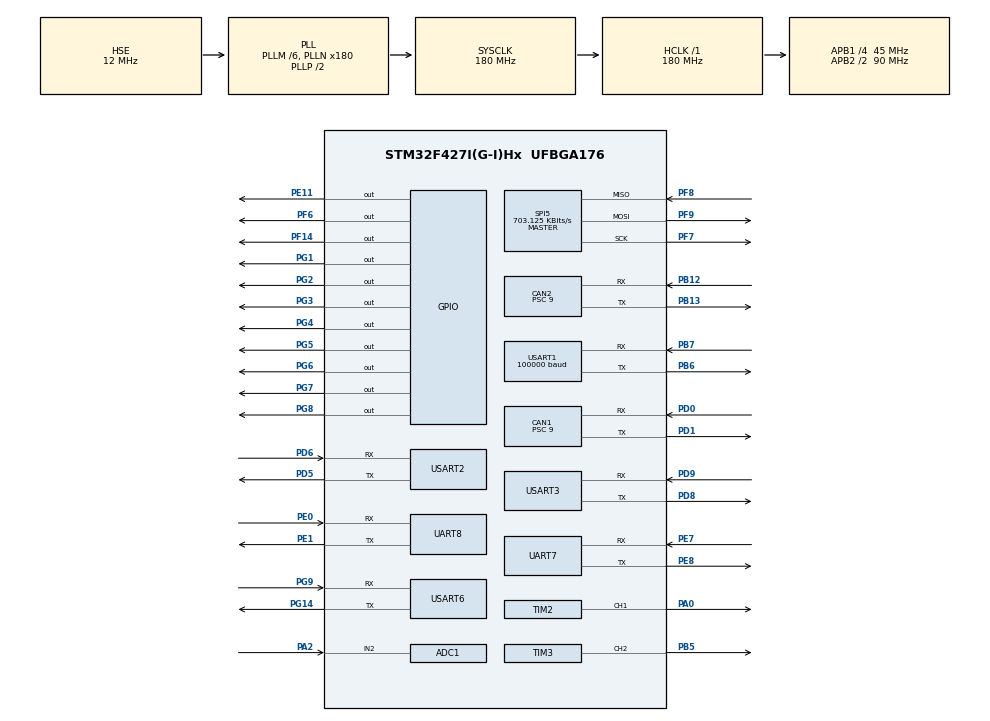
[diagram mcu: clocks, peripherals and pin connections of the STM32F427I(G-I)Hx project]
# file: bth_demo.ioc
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ADC1.Channel-1\#ChannelRegularConversion=ADC_CHANNEL_2
ADC1.ClockPrescaler=ADC_CLOCK_SYNC_PCLK_DIV8
ADC1.ContinuousConvMode=ENABLE
ADC1.DMAContinuousRequests=ENABLE
ADC1.NbrOfConversionFlag=1
ADC1.Rank-1\#ChannelRegularConversion=1
ADC1.SamplingTime-1\#ChannelRegularConversion=ADC_SAMPLETIME_480CYCLES
ADC1.ScanConvMode=ENABLE
ADC1.master=1
CAN1.ABOM=ENABLE
CAN1.BS1=CAN_BS1_2TQ
CAN1.BS2=CAN_BS2_2TQ
CAN1.CalculateBaudRate=1000000
CAN1.CalculateTimeBit=1000
CAN1.CalculateTimeQuantum=200.0
CAN1.Prescaler=9
CAN2.ABOM=ENABLE
CAN2.BS1=CAN_BS1_2TQ
CAN2.BS2=CAN_BS2_2TQ
CAN2.CalculateBaudRate=1000000
CAN2.CalculateTimeBit=1000
CAN2.CalculateTimeQuantum=200.0
CAN2.Prescaler=9
Dma.ADC1.11.Direction=DMA_PERIPH_TO_MEMORY
Dma.ADC1.11.FIFOMode=DMA_FIFOMODE_DISABLE
Dma.ADC1.11.Instance=DMA2_Stream0
Dma.ADC1.11.MemDataAlignment=DMA_MDATAALIGN_HALFWORD
Dma.ADC1.11.MemInc=DMA_MINC_ENABLE
Dma.ADC1.11.Mode=DMA_CIRCULAR
Dma.ADC1.11.PeriphDataAlignment=DMA_PDATAALIGN_HALFWORD
Dma.ADC1.11.PeriphInc=DMA_PINC_DISABLE
Dma.ADC1.11.Priority=DMA_PRIORITY_LOW
Dma.Request0=USART2_RX
Dma.Request1=USART2_TX
Dma.Request10=USART3_TX
Dma.Request11=ADC1
Dma.Request2=USART1_RX
Dma.Request3=USART1_TX
Dma.Request4=SPI5_RX
Dma.Request5=SPI5_TX
Dma.Request6=USART6_RX
Dma.Request7=USART6_TX
Dma.Request8=UART7_RX
Dma.Request9=UART7_TX
Dma.SPI5_RX.4.Direction=DMA_PERIPH_TO_MEMORY
Dma.SPI5_RX.4.FIFOMode=DMA_FIFOMODE_DISABLE
Dma.SPI5_RX.4.Instance=DMA2_Stream3
Dma.SPI5_RX.4.MemDataAlignment=DMA_MDATAALIGN_BYTE
Dma.SPI5_RX.4.MemInc=DMA_MINC_ENABLE
Dma.SPI5_RX.4.Mode=DMA_NORMAL
Dma.SPI5_RX.4.PeriphDataAlignment=DMA_PDATAALIGN_BYTE
Dma.SPI5_RX.4.PeriphInc=DMA_PINC_DISABLE
Dma.SPI5_RX.4.Priority=DMA_PRIORITY_LOW
Dma.SPI5_TX.5.Direction=DMA_MEMORY_TO_PERIPH
Dma.SPI5_TX.5.FIFOMode=DMA_FIFOMODE_DISABLE
Dma.SPI5_TX.5.Instance=DMA2_Stream4
Dma.SPI5_TX.5.MemDataAlignment=DMA_MDATAALIGN_BYTE
Dma.SPI5_TX.5.MemInc=DMA_MINC_ENABLE
Dma.SPI5_TX.5.Mode=DMA_NORMAL
Dma.SPI5_TX.5.PeriphDataAlignment=DMA_PDATAALIGN_BYTE
Dma.SPI5_TX.5.PeriphInc=DMA_PINC_DISABLE
Dma.SPI5_TX.5.Priority=DMA_PRIORITY_LOW
Dma.UART7_RX.8.Direction=DMA_PERIPH_TO_MEMORY
Dma.UART7_RX.8.FIFOMode=DMA_FIFOMODE_DISABLE
Dma.UART7_RX.8.Instance=DMA1_Stream3
Dma.UART7_RX.8.MemDataAlignment=DMA_MDATAALIGN_BYTE
Dma.UART7_RX.8.MemInc=DMA_MINC_ENABLE
Dma.UART7_RX.8.Mode=DMA_NORMAL
Dma.UART7_RX.8.PeriphDataAlignment=DMA_PDATAALIGN_BYTE
Dma.UART7_RX.8.PeriphInc=DMA_PINC_DISABLE
Dma.UART7_RX.8.Priority=DMA_PRIORITY_LOW
Dma.UART7_TX.9.Direction=DMA_MEMORY_TO_PERIPH
Dma.UART7_TX.9.FIFOMode=DMA_FIFOMODE_DISABLE
Dma.UART7_TX.9.Instance=DMA1_Stream1
Dma.UART7_TX.9.MemDataAlignment=DMA_MDATAALIGN_BYTE
Dma.UART7_TX.9.MemInc=DMA_MINC_ENABLE
Dma.UART7_TX.9.Mode=DMA_NORMAL
Dma.UART7_TX.9.PeriphDataAlignment=DMA_PDATAALIGN_BYTE
Dma.UART7_TX.9.PeriphInc=DMA_PINC_DISABLE
Dma.UART7_TX.9.Priority=DMA_PRIORITY_LOW
Dma.USART1_RX.2.Direction=DMA_PERIPH_TO_MEMORY
Dma.USART1_RX.2.FIFOMode=DMA_FIFOMODE_DISABLE
Dma.USART1_RX.2.Instance=DMA2_Stream2
Dma.USART1_RX.2.MemDataAlignment=DMA_MDATAALIGN_BYTE
Dma.USART1_RX.2.MemInc=DMA_MINC_ENABLE
Dma.USART1_RX.2.Mode=DMA_NORMAL
Dma.USART1_RX.2.PeriphDataAlignment=DMA_PDATAALIGN_BYTE
Dma.USART1_RX.2.PeriphInc=DMA_PINC_DISABLE
Dma.USART1_RX.2.Priority=DMA_PRIORITY_LOW
Dma.USART1_TX.3.Direction=DMA_MEMORY_TO_PERIPH
Dma.USART1_TX.3.FIFOMode=DMA_FIFOMODE_DISABLE
Dma.USART1_TX.3.Instance=DMA2_Stream7
Dma.USART1_TX.3.MemDataAlignment=DMA_MDATAALIGN_BYTE
Dma.USART1_TX.3.MemInc=DMA_MINC_ENABLE
Dma.USART1_TX.3.Mode=DMA_NORMAL
Dma.USART1_TX.3.PeriphDataAlignment=DMA_PDATAALIGN_BYTE
Dma.USART1_TX.3.PeriphInc=DMA_PINC_DISABLE
Dma.USART1_TX.3.Priority=DMA_PRIORITY_LOW
Dma.USART2_RX.0.Direction=DMA_PERIPH_TO_MEMORY
Dma.USART2_RX.0.FIFOMode=DMA_FIFOMODE_DISABLE
Dma.USART2_RX.0.Instance=DMA1_Stream5
Dma.USART2_RX.0.MemDataAlignment=DMA_MDATAALIGN_BYTE
Dma.USART2_RX.0.MemInc=DMA_MINC_ENABLE
Dma.USART2_RX.0.Mode=DMA_NORMAL
Dma.USART2_RX.0.PeriphDataAlignment=DMA_PDATAALIGN_BYTE
Dma.USART2_RX.0.PeriphInc=DMA_PINC_DISABLE
Dma.USART2_RX.0.Priority=DMA_PRIORITY_LOW
Dma.USART2_TX.1.Direction=DMA_MEMORY_TO_PERIPH
Dma.USART2_TX.1.FIFOMode=DMA_FIFOMODE_DISABLE
Dma.USART2_TX.1.Instance=DMA1_Stream6
Dma.USART2_TX.1.MemDataAlignment=DMA_MDATAALIGN_BYTE
Dma.USART2_TX.1.MemInc=DMA_MINC_ENABLE
Dma.USART2_TX.1.Mode=DMA_NORMAL
Dma.USART2_TX.1.PeriphDataAlignment=DMA_PDATAALIGN_BYTE
Dma.USART2_TX.1.PeriphInc=DMA_PINC_DISABLE
Dma.USART2_TX.1.Priority=DMA_PRIORITY_LOW
Dma.USART3_TX.10.Direction=DMA_MEMORY_TO_PERIPH
Dma.USART3_TX.10.FIFOMode=DMA_FIFOMODE_DISABLE
Dma.USART3_TX.10.Instance=DMA1_Stream4
Dma.USART3_TX.10.MemDataAlignment=DMA_MDATAALIGN_BYTE
Dma.USART3_TX.10.MemInc=DMA_MINC_ENABLE
Dma.USART3_TX.10.Mode=DMA_NORMAL
Dma.USART3_TX.10.PeriphDataAlignment=DMA_PDATAALIGN_BYTE
Dma.USART3_TX.10.PeriphInc=DMA_PINC_DISABLE
Dma.USART3_TX.10.Priority=DMA_PRIORITY_LOW
Dma.USART6_RX.6.Direction=DMA_PERIPH_TO_MEMORY
Dma.USART6_RX.6.FIFOMode=DMA_FIFOMODE_DISABLE
Dma.USART6_RX.6.Instance=DMA2_Stream1
Dma.USART6_RX.6.MemDataAlignment=DMA_MDATAALIGN_BYTE
Dma.USART6_RX.6.MemInc=DMA_MINC_ENABLE
Dma.USART6_RX.6.Mode=DMA_NORMAL
Dma.USART6_RX.6.PeriphDataAlignment=DMA_PDATAALIGN_BYTE
Dma.USART6_RX.6.PeriphInc=DMA_PINC_DISABLE
Dma.USART6_RX.6.Priority=DMA_PRIORITY_LOW
Dma.USART6_TX.7.Direction=DMA_MEMORY_TO_PERIPH
Dma.USART6_TX.7.FIFOMode=DMA_FIFOMODE_DISABLE
Dma.USART6_TX.7.Instance=DMA2_Stream6
Dma.USART6_TX.7.MemDataAlignment=DMA_MDATAALIGN_BYTE
Dma.USART6_TX.7.MemInc=DMA_MINC_ENABLE
Dma.USART6_TX.7.Mode=DMA_NORMAL
Dma.USART6_TX.7.PeriphDataAlignment=DMA_PDATAALIGN_BYTE
Dma.USART6_TX.7.PeriphInc=DMA_PINC_DISABLE
Dma.USART6_TX.7.Priority=DMA_PRIORITY_LOW
Mcu.Family=STM32F4
Mcu.Name=STM32F427I(G-I)Hx
Mcu.Package=UFBGA176
NVIC.CAN1_RX0_IRQn=true\:0\:0\:false\:false\:true\:false\:true\:true\:true
NVIC.CAN1_RX1_IRQn=true\:0\:0\:false\:false\:true\:false\:true\:true\:true
NVIC.CAN1_TX_IRQn=true\:0\:0\:false\:false\:true\:false\:true\:true\:true
NVIC.CAN2_RX0_IRQn=true\:0\:0\:false\:false\:true\:false\:true\:true\:true
NVIC.CAN2_RX1_IRQn=true\:0\:0\:false\:false\:true\:false\:true\:true\:true
NVIC.CAN2_TX_IRQn=true\:0\:0\:false\:false\:true\:false\:true\:true\:true
NVIC.DMA1_Stream1_IRQn=true\:0\:0\:false\:false\:true\:true\:false\:true\:true
NVIC.DMA1_Stream3_IRQn=true\:0\:0\:false\:false\:true\:true\:false\:true\:true
NVIC.DMA1_Stream4_IRQn=true\:0\:0\:false\:false\:true\:true\:false\:true\:true
NVIC.DMA1_Stream5_IRQn=true\:0\:0\:false\:false\:true\:true\:false\:true\:true
NVIC.DMA1_Stream6_IRQn=true\:0\:0\:false\:false\:true\:true\:false\:true\:true
NVIC.DMA2_Stream0_IRQn=true\:0\:0\:false\:false\:true\:true\:false\:true\:true
NVIC.DMA2_Stream1_IRQn=true\:0\:0\:false\:false\:true\:true\:false\:true\:true
NVIC.DMA2_Stream2_IRQn=true\:1\:0\:true\:false\:true\:true\:false\:true\:true
NVIC.DMA2_Stream3_IRQn=true\:1\:0\:true\:false\:true\:true\:false\:true\:true
NVIC.DMA2_Stream4_IRQn=true\:1\:0\:true\:false\:true\:true\:false\:true\:true
NVIC.DMA2_Stream6_IRQn=true\:0\:0\:false\:false\:true\:true\:false\:true\:true
NVIC.DMA2_Stream7_IRQn=true\:1\:0\:true\:false\:true\:true\:false\:true\:true
NVIC.PriorityGroup=NVIC_PRIORITYGROUP_4
NVIC.SPI5_IRQn=true\:1\:0\:true\:false\:true\:false\:true\:true\:true
NVIC.TIM8_TRG_COM_TIM14_IRQn=true\:15\:0\:false\:false\:true\:false\:false\:true\:true
NVIC.TIM8_UP_TIM13_IRQn=true\:0\:0\:false\:false\:true\:false\:true\:true\:true
NVIC.TimeBase=TIM8_TRG_COM_TIM14_IRQn
NVIC.TimeBaseIP=TIM14
NVIC.UART7_IRQn=true\:0\:0\:false\:false\:true\:false\:true\:true\:true
NVIC.UART8_IRQn=true\:0\:0\:false\:false\:true\:false\:true\:true\:true
NVIC.USART1_IRQn=true\:0\:0\:false\:false\:true\:false\:true\:true\:true
NVIC.USART2_IRQn=true\:0\:0\:false\:false\:true\:false\:true\:true\:true
NVIC.USART3_IRQn=true\:0\:0\:false\:false\:true\:false\:true\:true\:true
NVIC.USART6_IRQn=true\:0\:0\:false\:false\:true\:false\:true\:true\:true
PA0/WKUP.Signal=S_TIM2_CH1_ETR
PA13.Mode=Serial_Wire
PA13.Signal=SYS_JTMS-SWDIO
PA14.Mode=Serial_Wire
PA14.Signal=SYS_JTCK-SWCLK
PA2.Signal=ADCx_IN2
PB12.Mode=CAN_Activate
PB12.Signal=CAN2_RX
PB13.Mode=CAN_Activate
PB13.Signal=CAN2_TX
PB5.Signal=S_TIM3_CH2
PB6.Mode=Asynchronous
PB6.Signal=USART1_TX
PB7.Mode=Asynchronous
PB7.Signal=USART1_RX
PD0.Mode=CAN_Activate
PD0.Signal=CAN1_RX
PD1.Mode=CAN_Activate
PD1.Signal=CAN1_TX
PD5.Mode=Asynchronous
PD5.Signal=USART2_TX
PD6.Mode=Asynchronous
PD6.Signal=USART2_RX
PD8.Mode=Asynchronous
PD8.Signal=USART3_TX
PD9.Mode=Asynchronous
PD9.Signal=USART3_RX
PE0.Mode=Asynchronous
PE0.Signal=UART8_RX
PE1.Mode=Asynchronous
PE1.Signal=UART8_TX
PE11.PinState=GPIO_PIN_SET
PE11.Signal=GPIO_Output
PE7.Mode=Asynchronous
PE7.Signal=UART7_RX
PE8.Mode=Asynchronous
PE8.Signal=UART7_TX
PF14.PinState=GPIO_PIN_SET
PF14.Signal=GPIO_Output
PF6.PinState=GPIO_PIN_SET
PF6.Signal=GPIO_Output
PF7.Mode=Full_Duplex_Master
PF7.Signal=SPI5_SCK
PF8.Mode=Full_Duplex_Master
PF8.Signal=SPI5_MISO
PF9.Mode=Full_Duplex_Master
PF9.Signal=SPI5_MOSI
PG1.PinState=GPIO_PIN_SET
PG1.Signal=GPIO_Output
PG14.Mode=Asynchronous
PG14.Signal=USART6_TX
PG2.PinState=GPIO_PIN_SET
PG2.Signal=GPIO_Output
PG3.PinState=GPIO_PIN_SET
PG3.Signal=GPIO_Output
PG4.PinState=GPIO_PIN_SET
PG4.Signal=GPIO_Output
PG5.PinState=GPIO_PIN_SET
PG5.Signal=GPIO_Output
PG6.PinState=GPIO_PIN_SET
PG6.Signal=GPIO_Output
PG7.PinState=GPIO_PIN_SET
PG7.Signal=GPIO_Output
PG8.PinState=GPIO_PIN_SET
PG8.Signal=GPIO_Output
PG9.Mode=Asynchronous
PG9.Signal=USART6_RX
PH0/OSC_IN.Mode=HSE-External-Oscillator
PH0/OSC_IN.Signal=RCC_OSC_IN
PH1/OSC_OUT.Mode=HSE-External-Oscillator
PH1/OSC_OUT.Signal=RCC_OSC_OUT
ProjectManager.HeapSize=0x200
ProjectManager.StackSize=0x400
ProjectManager.TargetToolchain=MDK-ARM V5.32
RCC.48MHZClocksFreq_Value=90000000
RCC.AHBFreq_Value=180000000
RCC.APB1CLKDivider=RCC_HCLK_DIV4
RCC.APB1Freq_Value=45000000
RCC.APB1TimFreq_Value=90000000
RCC.APB2CLKDivider=RCC_HCLK_DIV2
RCC.APB2Freq_Value=90000000
RCC.APB2TimFreq_Value=180000000
RCC.CortexFreq_Value=180000000
RCC.HCLKFreq_Value=180000000
RCC.HSE_VALUE=12000000
RCC.HSI_VALUE=16000000
RCC.LSE_VALUE=32768
RCC.PLLM=6
RCC.PLLN=180
RCC.PLLSourceVirtual=RCC_PLLSOURCE_HSE
RCC.SYSCLKFreq_VALUE=180000000
RCC.SYSCLKSource=RCC_SYSCLKSOURCE_PLLCLK
RCC.VCOOutputFreq_Value=360000000
RealThread.RT-Thread.3.1.5.RTOSJjdevice=true
RealThread.RT-Thread.3.1.5.RTOSJjkernel=true
RealThread.RT-Thread.3.1.5.RT_USING_CONSOLE=0
RealThread.RT-Thread.3.1.5.RT_USING_EVENT=1
RealThread.RT-Thread.3.1.5.RT_USING_HEAP=1
RealThread.RT-Thread.3.1.5.RT_USING_MAILBOX=1
RealThread.RT-Thread.3.1.5.RT_USING_MEMPOOL=1
RealThread.RT-Thread.3.1.5.RT_USING_MESSAGEQUEUE=1
RealThread.RT-Thread.3.1.5.RT_USING_MUTEX=1
RealThread.RT-Thread.3.1.5.RT_USING_TIMER_SOFT=1
RealThread.RT-Thread.3.1.5.RT_USING_TINY_SIZE=1
SH.ADCx_IN2.0=ADC1_IN2,IN2
SH.S_TIM2_CH1_ETR.0=TIM2_CH1,PWM Generation1 CH1
SH.S_TIM3_CH2.0=TIM3_CH2,PWM Generation2 CH2
SPI5.BaudRatePrescaler=SPI_BAUDRATEPRESCALER_128
SPI5.CLKPhase=SPI_PHASE_2EDGE
SPI5.CLKPolarity=SPI_POLARITY_HIGH
SPI5.CRCCalculation=SPI_CRCCALCULATION_DISABLE
SPI5.CalculateBaudRate=703.125 KBits/s
SPI5.DataSize=SPI_DATASIZE_8BIT
SPI5.Direction=SPI_DIRECTION_2LINES
SPI5.Mode=SPI_MODE_MASTER
SPI5.TIMode=SPI_TIMODE_DISABLE
SPI5.VirtualType=VM_MASTER
TIM13.Period=5000-1
TIM13.Prescaler=90-1
TIM2.AutoReloadPreload=TIM_AUTORELOAD_PRELOAD_ENABLE
TIM2.Channel-PWM\ Generation1\ CH1=TIM_CHANNEL_1
TIM2.Period=2000-1
TIM2.Prescaler=1800-1
TIM3.AutoReloadPreload=TIM_AUTORELOAD_PRELOAD_ENABLE
TIM3.Channel-PWM\ Generation2\ CH2=TIM_CHANNEL_2
TIM3.Period=1000-1
TIM3.Prescaler=180-1
UART7.VirtualMode=Asynchronous
UART8.VirtualMode=Asynchronous
USART1.BaudRate=100000
USART1.Parity=PARITY_EVEN
USART1.VirtualMode=VM_ASYNC
USART1.WordLength=WORDLENGTH_9B
USART2.VirtualMode=VM_ASYNC
USART3.VirtualMode=VM_ASYNC
USART6.VirtualMode=VM_ASYNC
VP_RealThread.RT-Thread_VS_RTOSJjdevice_3.1.5_3.1.5.Mode=RTOSJjdevice
VP_RealThread.RT-Thread_VS_RTOSJjkernel_3.1.5_3.1.5.Mode=RTOSJjkernel
VP_SYS_VS_tim14.Mode=TIM14
VP_TIM12_VS_ClockSourceINT.Mode=Internal
VP_TIM13_VS_ClockSourceINT.Mode=Enable_Timer
VP_TIM2_VS_ClockSourceINT.Mode=Internal
VP_TIM3_VS_ClockSourceINT.Mode=Internal
board=custom

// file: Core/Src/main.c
/* USER CODE BEGIN Header */
/**
  ******************************************************************************
  * @file           : main.c
  * @brief          : Main program body
  ******************************************************************************
  * @attention
  *
  * Copyright (c) 2022 STMicroelectronics.
  * All rights reserved.
  *
  * This software is licensed under terms that can be found in the LICENSE file
  * in the root directory of this software component.
  * If no LICENSE file comes with this software, it is provided AS-IS.
  *
  ******************************************************************************
  */
/* USER CODE END Header */
#include "main.h"
#include "adc.h"
#include "can.h"
#include "dma.h"
#include "spi.h"
#include "tim.h"
#include "usart.h"
#include "gpio.h"

/* USER CODE BEGIN Includes */
#include "task.h"
#include "rtthread.h"
#include <rthw.h>
/* USER CODE END Includes */

void SystemClock_Config(void);

/* USER CODE BEGIN 0 */
extern rt_thread_t task_init;
/* USER CODE END 0 */

int main(void)
{
  /* USER CODE BEGIN 1 */

#ifdef RTT
  /* USER CODE END 1 */

  /* MCU Configuration--------------------------------------------------------*/

  /* Reset of all peripherals, Initializes the Flash interface and the Systick. */
  HAL_Init();

  /* Configure the system clock */
  SystemClock_Config();

  /* USER CODE BEGIN SysInit */
#endif
  /* USER CODE END SysInit */

  /* Initialize all configured peripherals */
  MX_GPIO_Init();
  MX_DMA_Init();
  MX_CAN1_Init();
  MX_CAN2_Init();
  MX_USART1_UART_Init();
  MX_USART2_UART_Init();
  MX_SPI5_Init();
  MX_TIM3_Init();
  MX_TIM12_Init();
  MX_TIM13_Init();
  MX_USART6_UART_Init();
  MX_UART7_Init();
  MX_USART3_UART_Init();
  MX_TIM2_Init();
  MX_UART8_Init();
  MX_ADC1_Init();
  /* USER CODE BEGIN 2 */
  task_init=rt_thread_create("Task_Init",Task_Init,RT_NULL,1024,10,200);
  rt_thread_startup(task_init);//�?启初始化任务
  /* USER CODE END 2 */

  /* Infinite loop */
  /* USER CODE BEGIN WHILE */
  while (1)
  {
    rt_thread_delay(1000000000);

    /* USER CODE END WHILE */

  }
}

void SystemClock_Config(void)
{
  RCC_OscInitTypeDef RCC_OscInitStruct = {0};
  RCC_ClkInitTypeDef RCC_ClkInitStruct = {0};

  /** Configure the main internal regulator output voltage
  */
  __HAL_RCC_PWR_CLK_ENABLE();
  __HAL_PWR_VOLTAGESCALING_CONFIG(PWR_REGULATOR_VOLTAGE_SCALE1);

  /** Initializes the RCC Oscillators according to the specified parameters
  * in the RCC_OscInitTypeDef structure.
  */
  RCC_OscInitStruct.OscillatorType = RCC_OSCILLATORTYPE_HSE;
  RCC_OscInitStruct.HSEState = RCC_HSE_ON;
  RCC_OscInitStruct.PLL.PLLState = RCC_PLL_ON;
  RCC_OscInitStruct.PLL.PLLSource = RCC_PLLSOURCE_HSE;
  RCC_OscInitStruct.PLL.PLLM = 6;
  RCC_OscInitStruct.PLL.PLLN = 180;
  RCC_OscInitStruct.PLL.PLLP = RCC_PLLP_DIV2;
  RCC_OscInitStruct.PLL.PLLQ = 4;
  if (HAL_RCC_OscConfig(&RCC_OscInitStruct) != HAL_OK)
  {
    Error_Handler();
  }

  /** Activate the Over-Drive mode
  */
  if (HAL_PWREx_EnableOverDrive() != HAL_OK)
  {
    Error_Handler();
  }

  /** Initializes the CPU, AHB and APB buses clocks
  */
  RCC_ClkInitStruct.ClockType = RCC_CLOCKTYPE_HCLK|RCC_CLOCKTYPE_SYSCLK
                              |RCC_CLOCKTYPE_PCLK1|RCC_CLOCKTYPE_PCLK2;
  RCC_ClkInitStruct.SYSCLKSource = RCC_SYSCLKSOURCE_PLLCLK;
  RCC_ClkInitStruct.AHBCLKDivider = RCC_SYSCLK_DIV1;
  RCC_ClkInitStruct.APB1CLKDivider = RCC_HCLK_DIV4;
  RCC_ClkInitStruct.APB2CLKDivider = RCC_HCLK_DIV2;

  if (HAL_RCC_ClockConfig(&RCC_ClkInitStruct, FLASH_LATENCY_5) != HAL_OK)
  {
    Error_Handler();
  }
}

/* USER CODE BEGIN 4 */
#ifdef RTT
/* USER CODE END 4 */

void HAL_TIM_PeriodElapsedCallback(TIM_HandleTypeDef *htim)
{
  if (htim->Instance == TIM14) {
    HAL_IncTick();
  }
  /* USER CODE BEGIN Callback 1 */
#endif
#ifdef RTT
  /* USER CODE END Callback 1 */
}

void Error_Handler(void)
{
  /* USER CODE BEGIN Error_Handler_Debug */
#endif
void Error_Handler(void)
{
  /* User can add his own implementation to report the HAL error return state */
  __disable_irq();
	HAL_GPIO_WritePin(GPIOF,GPIO_PIN_14,GPIO_PIN_SET);
  while (1)
  {
  }
  /* USER CODE END Error_Handler_Debug */
}
